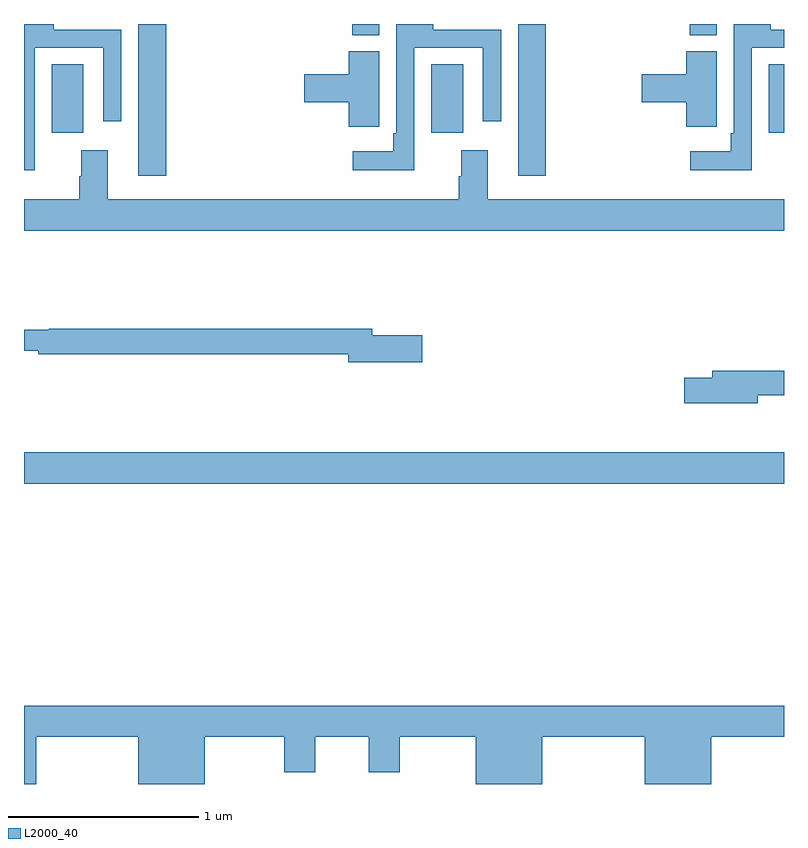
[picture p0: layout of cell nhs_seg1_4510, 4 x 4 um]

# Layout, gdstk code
import gdstk
lib = gdstk.Library(unit=1e-6, precision=1e-09)
def R(c, l, rs):  # rectangles x0, y0, x1, y1
    for r in rs: c.add(gdstk.rectangle(r[:2], r[2:], *l))
def P(c, l, *ps):  # polygons
    for p in ps: c.add(gdstk.Polygon(p, *l))
L2000_40 = (2000, 40)

nhs_seg1_4510 = lib.new_cell('nhs_seg1_4510')
R(nhs_seg1_4510, L2000_40, [(357,503.78,361,503.944), (357.602,505.401,357.749,506.199), (359.6,505.401,359.747,506.199), (357.146,505.626,357.313,505.988), (359.144,505.626,359.311,505.988), (360.92,505.626,361,505.988), (358.727,506.14,358.87,506.199), (360.503,506.14,360.646,506.199)])
P(nhs_seg1_4510, L2000_40, [(360.831,506.073),(361,506.073),(361,506.169),(360.931,506.169),(360.931,506.199),(360.735,506.199),(360.735,505.624),(360.719,505.624),(360.719,505.528),(360.507,505.528),(360.507,505.43),(360.831,505.43)],
  [(357.057,506.073),(357.417,506.073),(357.417,505.686),(357.513,505.686),(357.513,506.169),(357.157,506.169),(357.157,506.199),(357,506.199),(357,505.43),(357.057,505.43)],
  [(359.055,506.073),(359.415,506.073),(359.415,505.686),(359.511,505.686),(359.511,506.169),(359.155,506.169),(359.155,506.199),(358.959,506.199),(358.959,505.624),(358.943,505.624),(358.943,505.528),(358.731,505.528),(358.731,505.43),(359.055,505.43)],
  [(360.645,505.771),(360.646,505.771),(360.646,506.055),(360.485,506.055),(360.485,505.934),(360.252,505.934),(360.252,505.787),(360.485,505.787),(360.485,505.659),(360.645,505.659)],
  [(358.869,505.771),(358.87,505.771),(358.87,506.055),(358.709,506.055),(358.709,505.934),(358.476,505.934),(358.476,505.787),(358.709,505.787),(358.709,505.659),(358.869,505.659)],
  [(361,505.276),(359.44,505.276),(359.44,505.534),(359.3,505.534),(359.3,505.397),(359.288,505.397),(359.288,505.276),(357.442,505.276),(357.442,505.534),(357.302,505.534),(357.302,505.397),(357.29,505.397),(357.29,505.276),(357,505.276),(357,505.112),(361,505.112)],
  [(359.095,504.56),(358.834,504.56),(358.834,504.596),(357.13,504.596),(357.13,504.589),(357,504.589),(357,504.479),(357.076,504.479),(357.076,504.46),(358.706,504.46),(358.706,504.418),(359.095,504.418)],
  [(360.862,504.246),(361,504.246),(361,504.374),(360.623,504.374),(360.623,504.338),(360.474,504.338),(360.474,504.203),(360.862,504.203)],
  [(357.064,502.448),(357.602,502.448),(357.602,502.199),(357.952,502.199),(357.952,502.448),(358.37,502.448),(358.37,502.26),(358.534,502.26),(358.534,502.448),(358.814,502.448),(358.814,502.26),(358.978,502.26),(358.978,502.448),(359.378,502.448),(359.378,502.199),(359.728,502.199),(359.728,502.448),(360.266,502.448),(360.266,502.199),(360.616,502.199),(360.616,502.448),(361,502.448),(361,502.612),(357,502.612),(357,502.199),(357.064,502.199)])

lib.write_gds('nhs_seg1_4510.gds')
